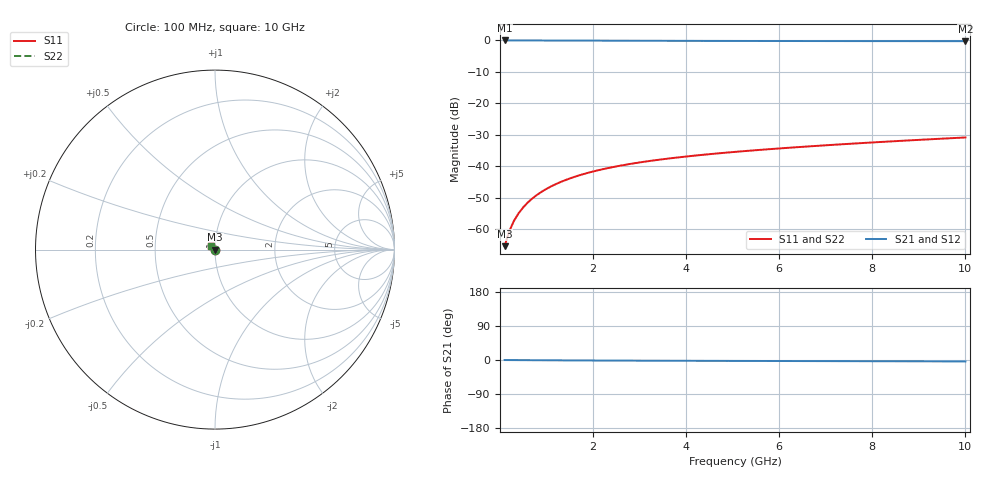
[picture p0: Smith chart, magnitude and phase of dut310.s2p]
! Touchstone file exported from HFSS 2024.1.0
!  File:  C:/UserFiles/LocalFiles/RDL_TSV_Batchsim/temp_TSV1_310_1779615820.aedt
!  Generated:  05:50:54 PM May 24, 2026
!  Design:  TSV1
!  Project:  temp_TSV1_310_1779615820
!  Setup:  Setup1
!  Solution:  Sweep
! Variables:
!  dtsv = 5.92um
!  hbump = 3um
!  htsv = 51.4um
!  lrdl = 252.1521522um
!  p = 40
!  p1 = 51.37um
!  t = 500um
!  trdl = 3um
!  wrdl = 24.89489489um
# GHz S MA R 50.000000
! Terminal data exported
! Port[1] = TSV22_T1
! Port[2] = TSV22_T2
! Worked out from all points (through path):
!   100 points, 100 MHz to 10 GHz, reference 50 ohm
!   highest |S21| = 0.00 dB at 100 MHz (marker M1); lowest = -0.2 dB at 10 GHz (marker M2)
!   lowest |S11| = -65.4 dB at 100 MHz (marker M3), VSWR 1.00, Z = 50 - j0.0449 ohm
!   |S11| at or under -10 dB: start of sweep to end of sweep
!   |S22| runs from -65.4 to -30.9 dB; largest |S21 - S12| = 5e-15
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0.1  0.0005344 -57.1  0.9997 -0.1  0.9997 -0.1  0.0005344 -57.1
! Gamma 0 0 0 0
! Port Impedance 50 0 50 0
0.2  0.0009252 -75.8  0.9996 -0.2  0.9996 -0.2  0.0009252 -75.8
0.3  0.001348 -84.7  0.9995 -0.2  0.9995 -0.2  0.001348 -84.7
0.4  0.001781 -90.5  0.9993 -0.3  0.9993 -0.3  0.001781 -90.5
0.5  0.002217 -94.9  0.9992 -0.4  0.9992 -0.4  0.002217 -94.9
0.6  0.002652 -98.6  0.9989 -0.4  0.9989 -0.4  0.002652 -98.6
0.7  0.003085 -101.9  0.9987 -0.5  0.9987 -0.5  0.003085 -101.9
0.8  0.003515 -104.9  0.9984 -0.6  0.9984 -0.6  0.003515 -104.9
0.9  0.00394 -107.8  0.9981 -0.7  0.9981 -0.7  0.00394 -107.8
1.1  0.004776 -113.2  0.9974 -0.8  0.9974 -0.8  0.004776 -113.2
1.4  0.005985 -120.6  0.9962 -1.0  0.9962 -1.0  0.005985 -120.6
1.6  0.006759 -125.3  0.9953 -1.1  0.9953 -1.1  0.006759 -125.3
1.8  0.007506 -129.8  0.9944 -1.2  0.9944 -1.2  0.007506 -129.8
2.1  0.008578 -136.1  0.993 -1.4  0.993 -1.4  0.008578 -136.1
2.5  0.009919 -144.1  0.9911 -1.5  0.9911 -1.5  0.009919 -144.1
2.9  0.01117 -151.4  0.9893 -1.7  0.9893 -1.7  0.01117 -151.4
3.4  0.01262 -159.7  0.9872 -1.9  0.9872 -1.9  0.01262 -159.7
4.2  0.01476 -171.3  0.9842 -2.2  0.9842 -2.2  0.01476 -171.3
5.1  0.017 177.7  0.9815 -2.4  0.9815 -2.4  0.017 177.7
6.7  0.02079 162.3  0.9781 -2.9  0.9781 -2.9  0.02079 162.3
8.4  0.02479 150.2  0.9758 -3.3  0.9758 -3.3  0.02479 150.2
10  0.02863 141.5  0.9742 -3.8  0.9742 -3.8  0.02863 141.5
